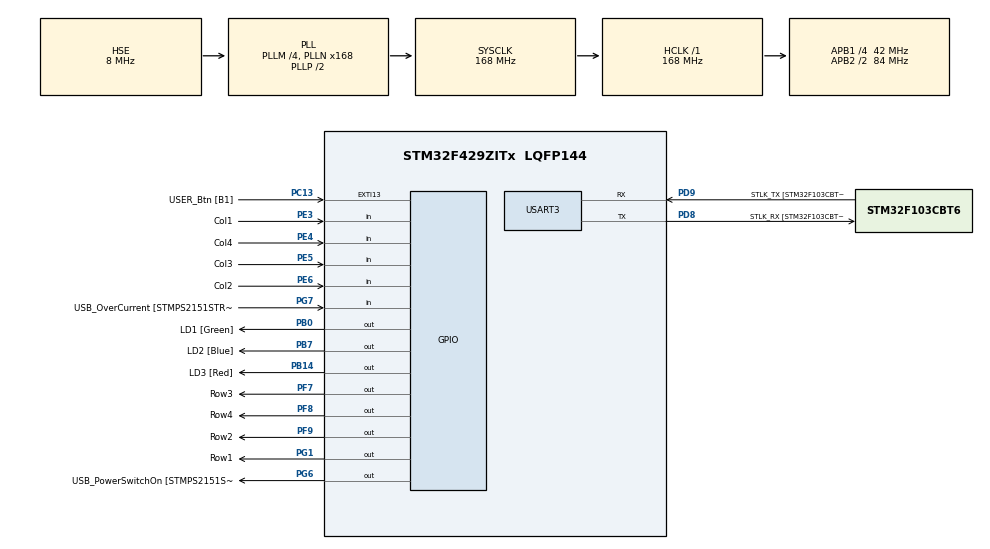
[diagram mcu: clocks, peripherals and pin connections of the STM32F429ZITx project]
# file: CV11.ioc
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Mcu.Family=STM32F4
Mcu.Name=STM32F429ZITx
Mcu.Package=LQFP144
NVIC.PriorityGroup=NVIC_PRIORITYGROUP_4
NVIC.TIM3_IRQn=true\:0\:0\:false\:false\:true\:true\:true\:true
PA1.GPIO_Label=RMII_REF_CLK [LAN8742A-CZ-TR_REFCLK0]
PA1.Signal=ETH_REF_CLK
PA10.GPIO_Label=USB_ID
PA10.Signal=USB_OTG_FS_ID
PA11.GPIO_Label=USB_DM
PA11.Signal=USB_OTG_FS_DM
PA12.GPIO_Label=USB_DP
PA12.Signal=USB_OTG_FS_DP
PA13.GPIO_Label=TMS
PA13.Mode=Serial_Wire
PA13.Signal=SYS_JTMS-SWDIO
PA14.GPIO_Label=TCK
PA14.Mode=Serial_Wire
PA14.Signal=SYS_JTCK-SWCLK
PA2.GPIO_Label=RMII_MDIO [LAN8742A-CZ-TR_MDIO]
PA2.Signal=ETH_MDIO
PA7.GPIO_Label=RMII_CRS_DV [LAN8742A-CZ-TR_CRS_DV]
PA7.Signal=ETH_CRS_DV
PA8.GPIO_Label=USB_SOF [TP1]
PA8.Signal=USB_OTG_FS_SOF
PA9.GPIO_Label=USB_VBUS
PA9.Signal=USB_OTG_FS_VBUS
PB0.GPIO_Label=LD1 [Green]
PB0.Signal=GPIO_Output
PB13.GPIO_Label=RMII_TXD1 [LAN8742A-CZ-TR_TXD1]
PB13.Signal=ETH_TXD1
PB14.GPIO_Label=LD3 [Red]
PB14.Signal=GPIO_Output
PB7.GPIO_Label=LD2 [Blue]
PB7.Signal=GPIO_Output
PC1.GPIO_Label=RMII_MDC [LAN8742A-CZ-TR_MDC]
PC1.Signal=ETH_MDC
PC13.GPIO_Label=USER_Btn [B1]
PC13.Signal=GPXTI13
PC14/OSC32_IN.Mode=LSE-External-Oscillator
PC14/OSC32_IN.Signal=RCC_OSC32_IN
PC15/OSC32_OUT.Mode=LSE-External-Oscillator
PC15/OSC32_OUT.Signal=RCC_OSC32_OUT
PC4.GPIO_Label=RMII_RXD0 [LAN8742A-CZ-TR_RXD0]
PC4.Signal=ETH_RXD0
PC5.GPIO_Label=RMII_RXD1 [LAN8742A-CZ-TR_RXD1]
PC5.Signal=ETH_RXD1
PD8.GPIO_Label=STLK_RX [STM32F103CBT6_PA3]
PD8.Mode=Asynchronous
PD8.Signal=USART3_TX
PD9.GPIO_Label=STLK_TX [STM32F103CBT6_PA2]
PD9.Mode=Asynchronous
PD9.Signal=USART3_RX
PE3.GPIO_Label=Col1
PE3.GPIO_PuPd=GPIO_PULLUP
PE3.Signal=GPIO_Input
PE4.GPIO_Label=Col4
PE4.GPIO_PuPd=GPIO_PULLUP
PE4.Signal=GPIO_Input
PE5.GPIO_Label=Col3
PE5.GPIO_PuPd=GPIO_PULLUP
PE5.Signal=GPIO_Input
PE6.GPIO_Label=Col2
PE6.GPIO_PuPd=GPIO_PULLUP
PE6.Signal=GPIO_Input
PF7.GPIO_Label=Row3
PF7.GPIO_ModeDefaultOutputPP=GPIO_MODE_OUTPUT_OD
PF7.GPIO_PuPd=GPIO_NOPULL
PF7.Signal=GPIO_Output
PF8.GPIO_Label=Row4
PF8.GPIO_ModeDefaultOutputPP=GPIO_MODE_OUTPUT_OD
PF8.GPIO_PuPd=GPIO_NOPULL
PF8.Signal=GPIO_Output
PF9.GPIO_Label=Row2
PF9.GPIO_ModeDefaultOutputPP=GPIO_MODE_OUTPUT_OD
PF9.GPIO_PuPd=GPIO_NOPULL
PF9.Signal=GPIO_Output
PG1.GPIO_Label=Row1
PG1.GPIO_ModeDefaultOutputPP=GPIO_MODE_OUTPUT_OD
PG1.GPIO_PuPd=GPIO_NOPULL
PG1.Signal=GPIO_Output
PG11.GPIO_Label=RMII_TX_EN [LAN8742A-CZ-TR_TXEN]
PG11.Signal=ETH_TX_EN
PG13.GPIO_Label=RMII_TXD0 [LAN8742A-CZ-TR_TXD0]
PG13.Signal=ETH_TXD0
PG6.GPIO_Label=USB_PowerSwitchOn [STMPS2151STR_EN]
PG6.Signal=GPIO_Output
PG7.GPIO_Label=USB_OverCurrent [STMPS2151STR_FAULT]
PG7.Signal=GPIO_Input
PH0/OSC_IN.GPIO_Label=MCO [STM32F103CBT6_PA8]
PH0/OSC_IN.Mode=HSE-External-Clock-Source
PH0/OSC_IN.Signal=RCC_OSC_IN
PH1/OSC_OUT.Mode=HSE-External-Clock-Source
PH1/OSC_OUT.Signal=RCC_OSC_OUT
ProjectManager.HeapSize=0x200
ProjectManager.StackSize=0x400
ProjectManager.TargetToolchain=STM32CubeIDE
RCC.48MHZClocksFreq_Value=48000000
RCC.AHBFreq_Value=168000000
RCC.APB1CLKDivider=RCC_HCLK_DIV4
RCC.APB1Freq_Value=42000000
RCC.APB1TimFreq_Value=84000000
RCC.APB2CLKDivider=RCC_HCLK_DIV2
RCC.APB2Freq_Value=84000000
RCC.APB2TimCLKDivider=2
RCC.APB2TimFreq_Value=168000000
RCC.CortexFreq_Value=168000000
RCC.HCLKFreq_Value=168000000
RCC.HSE_VALUE=8000000
RCC.HSI_VALUE=16000000
RCC.PLLM=4
RCC.PLLMUL=RCC_PLL_MUL9
RCC.PLLN=168
RCC.PLLQ=7
RCC.PLLSourceVirtual=RCC_PLLSOURCE_HSE
RCC.PRESCALERUSB=RCC_USBCLKSOURCE_PLL_DIV1_5
RCC.SYSCLKFreq_VALUE=168000000
RCC.SYSCLKSource=RCC_SYSCLKSOURCE_PLLCLK
RCC.SYSCLKSourceVirtual=RCC_SYSCLKSOURCE_PLLCLK
RCC.USBFreq_Value=48000000
RCC.VCOOutputFreq_Value=336000000
TIM3.AutoReloadPreload=TIM_AUTORELOAD_PRELOAD_ENABLE
TIM3.Period=99
TIM3.Prescaler=8399
USART3.VirtualMode=VM_ASYNC
VP_TIM3_VS_ClockSourceINT.Mode=Internal
board=NUCLEO-F429ZI

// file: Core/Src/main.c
/* USER CODE BEGIN Header */
/**
  ******************************************************************************
  * @file           : main.c
  * @brief          : Main program body
  ******************************************************************************
  * @attention
  *
  * Copyright (c) 2023 STMicroelectronics.
  * All rights reserved.
  *
  * This software is licensed under terms that can be found in the LICENSE file
  * in the root directory of this software component.
  * If no LICENSE file comes with this software, it is provided AS-IS.
  *
  ******************************************************************************
  */
/* USER CODE END Header */
#include "main.h"

/* USER CODE BEGIN Includes */
#include <stdio.h>

/* USER CODE END Includes */

TIM_HandleTypeDef htim3;

UART_HandleTypeDef huart3;

/* USER CODE BEGIN PV */

//7, 9, 3, 2, 12
static const uint8_t PozadovanyKod[] = {7, 9, 3, 2, 12};
static uint8_t VychodziaPozicia = 0;
static uint32_t CasPosledKlavesy = 0;
static volatile int key;

/* USER CODE END PV */

void SystemClock_Config(void);
static void MX_GPIO_Init(void);
static void MX_USART3_UART_Init(void);
static void MX_TIM3_Init(void);

/* USER CODE BEGIN 0 */

int __io_putchar(int ch)
{
ITM_SendChar(ch);
return 0;
}

/* USER CODE END 0 */

int main(void)
{

  /* MCU Configuration--------------------------------------------------------*/

  /* Reset of all peripherals, Initializes the Flash interface and the Systick. */
  HAL_Init();

  /* Configure the system clock */
  SystemClock_Config();

  /* Initialize all configured peripherals */
  MX_GPIO_Init();
  MX_USART3_UART_Init();
  MX_TIM3_Init();
  /* USER CODE BEGIN 2 */

  HAL_TIM_Base_Start_IT(&htim3);

  HAL_GPIO_TogglePin(LD2_GPIO_Port, LD2_Pin); // svieti LED bezi kod

  /* USER CODE END 2 */

  /* Infinite loop */
  /* USER CODE BEGIN WHILE */

 while (1)
  {

	// TEST LED BLINK - FUNGUJE JUPI
	// HAL_GPIO_TogglePin(LD2_GPIO_Port, LD2_Pin); // svieti LED bezi kod
	// HAL_Delay(250);

	// printf("Test\n");

	// if (key != -1) {
	//	 printf("Stisknuta klavesa %d \n", key);
	//	 key = -1;
	// }

	 if (key != -1) {

			HAL_Delay(250); // delay na stlacenie klavesy
			printf("Stisknuta klavesa %d" "\n", key);

			if (HAL_GetTick() - CasPosledKlavesy < 3000) { // 3 sekundovy timeout
				if (key == PozadovanyKod[VychodziaPozicia]) {
					// Spravne zadana klavesa (cislo)
					VychodziaPozicia++;

					if (VychodziaPozicia == sizeof(PozadovanyKod) / sizeof(PozadovanyKod[0])) {
						// Kód bol uspesne zadany
						HAL_GPIO_TogglePin(LD1_GPIO_Port, LD1_Pin);
						printf("Zadal si spravny kod !!! \n");

						VychodziaPozicia = 0; // Reset pozicie pre dalsie zadanie
					}
				} else {
					VychodziaPozicia = 0; // Nespravne zadana klavesa (cislo), reset pozicie
				}
			} else {
				// Timeout
				VychodziaPozicia = 0;
			}

			CasPosledKlavesy = HAL_GetTick();
			key = -1; // Reset key pre detekciu dalsieho zadavania
		}

    /* USER CODE END WHILE */

  }
}

void SystemClock_Config(void)
{
  RCC_OscInitTypeDef RCC_OscInitStruct = {0};
  RCC_ClkInitTypeDef RCC_ClkInitStruct = {0};

  /** Configure the main internal regulator output voltage
  */
  __HAL_RCC_PWR_CLK_ENABLE();
  __HAL_PWR_VOLTAGESCALING_CONFIG(PWR_REGULATOR_VOLTAGE_SCALE1);

  /** Initializes the RCC Oscillators according to the specified parameters
  * in the RCC_OscInitTypeDef structure.
  */
  RCC_OscInitStruct.OscillatorType = RCC_OSCILLATORTYPE_HSE;
  RCC_OscInitStruct.HSEState = RCC_HSE_BYPASS;
  RCC_OscInitStruct.PLL.PLLState = RCC_PLL_ON;
  RCC_OscInitStruct.PLL.PLLSource = RCC_PLLSOURCE_HSE;
  RCC_OscInitStruct.PLL.PLLM = 4;
  RCC_OscInitStruct.PLL.PLLN = 168;
  RCC_OscInitStruct.PLL.PLLP = RCC_PLLP_DIV2;
  RCC_OscInitStruct.PLL.PLLQ = 7;
  if (HAL_RCC_OscConfig(&RCC_OscInitStruct) != HAL_OK)
  {
    Error_Handler();
  }

  /** Initializes the CPU, AHB and APB buses clocks
  */
  RCC_ClkInitStruct.ClockType = RCC_CLOCKTYPE_HCLK|RCC_CLOCKTYPE_SYSCLK
                              |RCC_CLOCKTYPE_PCLK1|RCC_CLOCKTYPE_PCLK2;
  RCC_ClkInitStruct.SYSCLKSource = RCC_SYSCLKSOURCE_PLLCLK;
  RCC_ClkInitStruct.AHBCLKDivider = RCC_SYSCLK_DIV1;
  RCC_ClkInitStruct.APB1CLKDivider = RCC_HCLK_DIV4;
  RCC_ClkInitStruct.APB2CLKDivider = RCC_HCLK_DIV2;

  if (HAL_RCC_ClockConfig(&RCC_ClkInitStruct, FLASH_LATENCY_5) != HAL_OK)
  {
    Error_Handler();
  }
}

static void MX_TIM3_Init(void)
{

  TIM_ClockConfigTypeDef sClockSourceConfig = {0};
  TIM_MasterConfigTypeDef sMasterConfig = {0};

  htim3.Instance = TIM3;
  htim3.Init.Prescaler = 8399;
  htim3.Init.CounterMode = TIM_COUNTERMODE_UP;
  htim3.Init.Period = 99;
  htim3.Init.ClockDivision = TIM_CLOCKDIVISION_DIV1;
  htim3.Init.AutoReloadPreload = TIM_AUTORELOAD_PRELOAD_ENABLE;
  if (HAL_TIM_Base_Init(&htim3) != HAL_OK)
  {
    Error_Handler();
  }
  sClockSourceConfig.ClockSource = TIM_CLOCKSOURCE_INTERNAL;
  if (HAL_TIM_ConfigClockSource(&htim3, &sClockSourceConfig) != HAL_OK)
  {
    Error_Handler();
  }
  sMasterConfig.MasterOutputTrigger = TIM_TRGO_RESET;
  sMasterConfig.MasterSlaveMode = TIM_MASTERSLAVEMODE_DISABLE;
  if (HAL_TIMEx_MasterConfigSynchronization(&htim3, &sMasterConfig) != HAL_OK)
  {
    Error_Handler();
  }

}

static void MX_USART3_UART_Init(void)
{

  huart3.Instance = USART3;
  huart3.Init.BaudRate = 115200;
  huart3.Init.WordLength = UART_WORDLENGTH_8B;
  huart3.Init.StopBits = UART_STOPBITS_1;
  huart3.Init.Parity = UART_PARITY_NONE;
  huart3.Init.Mode = UART_MODE_TX_RX;
  huart3.Init.HwFlowCtl = UART_HWCONTROL_NONE;
  huart3.Init.OverSampling = UART_OVERSAMPLING_16;
  if (HAL_UART_Init(&huart3) != HAL_OK)
  {
    Error_Handler();
  }

}

static void MX_GPIO_Init(void)
{
  GPIO_InitTypeDef GPIO_InitStruct = {0};

  /* GPIO Ports Clock Enable */
  __HAL_RCC_GPIOE_CLK_ENABLE();
  __HAL_RCC_GPIOC_CLK_ENABLE();
  __HAL_RCC_GPIOF_CLK_ENABLE();
  __HAL_RCC_GPIOH_CLK_ENABLE();
  __HAL_RCC_GPIOA_CLK_ENABLE();
  __HAL_RCC_GPIOB_CLK_ENABLE();
  __HAL_RCC_GPIOG_CLK_ENABLE();
  __HAL_RCC_GPIOD_CLK_ENABLE();

  /*Configure GPIO pin Output Level */
  HAL_GPIO_WritePin(GPIOF, Row3_Pin|Row4_Pin|Row2_Pin, GPIO_PIN_RESET);

  /*Configure GPIO pin Output Level */
  HAL_GPIO_WritePin(GPIOB, LD1_Pin|LD3_Pin|LD2_Pin, GPIO_PIN_RESET);

  /*Configure GPIO pin Output Level */
  HAL_GPIO_WritePin(GPIOG, Row1_Pin|USB_PowerSwitchOn_Pin, GPIO_PIN_RESET);

  /*Configure GPIO pins : Col1_Pin Col4_Pin Col3_Pin Col2_Pin */
  GPIO_InitStruct.Pin = Col1_Pin|Col4_Pin|Col3_Pin|Col2_Pin;
  GPIO_InitStruct.Mode = GPIO_MODE_INPUT;
  GPIO_InitStruct.Pull = GPIO_PULLUP;
  HAL_GPIO_Init(GPIOE, &GPIO_InitStruct);

  /*Configure GPIO pin : USER_Btn_Pin */
  GPIO_InitStruct.Pin = USER_Btn_Pin;
  GPIO_InitStruct.Mode = GPIO_MODE_IT_RISING;
  GPIO_InitStruct.Pull = GPIO_NOPULL;
  HAL_GPIO_Init(USER_Btn_GPIO_Port, &GPIO_InitStruct);

  /*Configure GPIO pins : Row3_Pin Row4_Pin Row2_Pin */
  GPIO_InitStruct.Pin = Row3_Pin|Row4_Pin|Row2_Pin;
  GPIO_InitStruct.Mode = GPIO_MODE_OUTPUT_OD;
  GPIO_InitStruct.Pull = GPIO_NOPULL;
  GPIO_InitStruct.Speed = GPIO_SPEED_FREQ_LOW;
  HAL_GPIO_Init(GPIOF, &GPIO_InitStruct);

  /*Configure GPIO pins : RMII_MDC_Pin RMII_RXD0_Pin RMII_RXD1_Pin */
  GPIO_InitStruct.Pin = RMII_MDC_Pin|RMII_RXD0_Pin|RMII_RXD1_Pin;
  GPIO_InitStruct.Mode = GPIO_MODE_AF_PP;
  GPIO_InitStruct.Pull = GPIO_NOPULL;
  GPIO_InitStruct.Speed = GPIO_SPEED_FREQ_VERY_HIGH;
  GPIO_InitStruct.Alternate = GPIO_AF11_ETH;
  HAL_GPIO_Init(GPIOC, &GPIO_InitStruct);

  /*Configure GPIO pins : RMII_REF_CLK_Pin RMII_MDIO_Pin RMII_CRS_DV_Pin */
  GPIO_InitStruct.Pin = RMII_REF_CLK_Pin|RMII_MDIO_Pin|RMII_CRS_DV_Pin;
  GPIO_InitStruct.Mode = GPIO_MODE_AF_PP;
  GPIO_InitStruct.Pull = GPIO_NOPULL;
  GPIO_InitStruct.Speed = GPIO_SPEED_FREQ_VERY_HIGH;
  GPIO_InitStruct.Alternate = GPIO_AF11_ETH;
  HAL_GPIO_Init(GPIOA, &GPIO_InitStruct);

  /*Configure GPIO pins : LD1_Pin LD3_Pin LD2_Pin */
  GPIO_InitStruct.Pin = LD1_Pin|LD3_Pin|LD2_Pin;
  GPIO_InitStruct.Mode = GPIO_MODE_OUTPUT_PP;
  GPIO_InitStruct.Pull = GPIO_NOPULL;
  GPIO_InitStruct.Speed = GPIO_SPEED_FREQ_LOW;
  HAL_GPIO_Init(GPIOB, &GPIO_InitStruct);

  /*Configure GPIO pin : Row1_Pin */
  GPIO_InitStruct.Pin = Row1_Pin;
  GPIO_InitStruct.Mode = GPIO_MODE_OUTPUT_OD;
  GPIO_InitStruct.Pull = GPIO_NOPULL;
  GPIO_InitStruct.Speed = GPIO_SPEED_FREQ_LOW;
  HAL_GPIO_Init(Row1_GPIO_Port, &GPIO_InitStruct);

  /*Configure GPIO pin : RMII_TXD1_Pin */
  GPIO_InitStruct.Pin = RMII_TXD1_Pin;
  GPIO_InitStruct.Mode = GPIO_MODE_AF_PP;
  GPIO_InitStruct.Pull = GPIO_NOPULL;
  GPIO_InitStruct.Speed = GPIO_SPEED_FREQ_VERY_HIGH;
  GPIO_InitStruct.Alternate = GPIO_AF11_ETH;
  HAL_GPIO_Init(RMII_TXD1_GPIO_Port, &GPIO_InitStruct);

  /*Configure GPIO pin : USB_PowerSwitchOn_Pin */
  GPIO_InitStruct.Pin = USB_PowerSwitchOn_Pin;
  GPIO_InitStruct.Mode = GPIO_MODE_OUTPUT_PP;
  GPIO_InitStruct.Pull = GPIO_NOPULL;
  GPIO_InitStruct.Speed = GPIO_SPEED_FREQ_LOW;
  HAL_GPIO_Init(USB_PowerSwitchOn_GPIO_Port, &GPIO_InitStruct);

  /*Configure GPIO pin : USB_OverCurrent_Pin */
  GPIO_InitStruct.Pin = USB_OverCurrent_Pin;
  GPIO_InitStruct.Mode = GPIO_MODE_INPUT;
  GPIO_InitStruct.Pull = GPIO_NOPULL;
  HAL_GPIO_Init(USB_OverCurrent_GPIO_Port, &GPIO_InitStruct);

  /*Configure GPIO pins : USB_SOF_Pin USB_ID_Pin USB_DM_Pin USB_DP_Pin */
  GPIO_InitStruct.Pin = USB_SOF_Pin|USB_ID_Pin|USB_DM_Pin|USB_DP_Pin;
  GPIO_InitStruct.Mode = GPIO_MODE_AF_PP;
  GPIO_InitStruct.Pull = GPIO_NOPULL;
  GPIO_InitStruct.Speed = GPIO_SPEED_FREQ_VERY_HIGH;
  GPIO_InitStruct.Alternate = GPIO_AF10_OTG_FS;
  HAL_GPIO_Init(GPIOA, &GPIO_InitStruct);

  /*Configure GPIO pin : USB_VBUS_Pin */
  GPIO_InitStruct.Pin = USB_VBUS_Pin;
  GPIO_InitStruct.Mode = GPIO_MODE_INPUT;
  GPIO_InitStruct.Pull = GPIO_NOPULL;
  HAL_GPIO_Init(USB_VBUS_GPIO_Port, &GPIO_InitStruct);

  /*Configure GPIO pins : RMII_TX_EN_Pin RMII_TXD0_Pin */
  GPIO_InitStruct.Pin = RMII_TX_EN_Pin|RMII_TXD0_Pin;
  GPIO_InitStruct.Mode = GPIO_MODE_AF_PP;
  GPIO_InitStruct.Pull = GPIO_NOPULL;
  GPIO_InitStruct.Speed = GPIO_SPEED_FREQ_VERY_HIGH;
  GPIO_InitStruct.Alternate = GPIO_AF11_ETH;
  HAL_GPIO_Init(GPIOG, &GPIO_InitStruct);

}

/* USER CODE BEGIN 4 */

void HAL_TIM_PeriodElapsedCallback(TIM_HandleTypeDef *htim)
{
 static int row = 0;
 static const int keyboard[4][4] = {
 { 1, 2, 3, 21 },
 { 4, 5, 6, 22 },
 { 7, 8, 9, 23 },
 { 11, 0, 12, 24 },
 };

 if (key == -1) {
 if (HAL_GPIO_ReadPin(Col1_GPIO_Port, Col1_Pin) == GPIO_PIN_RESET) key = keyboard[row][0];
 if (HAL_GPIO_ReadPin(Col2_GPIO_Port, Col2_Pin) == GPIO_PIN_RESET) key = keyboard[row][1];
 if (HAL_GPIO_ReadPin(Col3_GPIO_Port, Col3_Pin) == GPIO_PIN_RESET) key = keyboard[row][2];
 if (HAL_GPIO_ReadPin(Col4_GPIO_Port, Col4_Pin) == GPIO_PIN_RESET) key = keyboard[row][3];
 }

 HAL_GPIO_WritePin(Row1_GPIO_Port, Row1_Pin, GPIO_PIN_SET);
 HAL_GPIO_WritePin(Row2_GPIO_Port, Row2_Pin, GPIO_PIN_SET);
 HAL_GPIO_WritePin(Row3_GPIO_Port, Row3_Pin, GPIO_PIN_SET);
 HAL_GPIO_WritePin(Row4_GPIO_Port, Row4_Pin, GPIO_PIN_SET);
 switch (row) {
 case 0: row = 1; HAL_GPIO_WritePin(Row2_GPIO_Port, Row2_Pin, GPIO_PIN_RESET); break;
 case 1: row = 2; HAL_GPIO_WritePin(Row3_GPIO_Port, Row3_Pin, GPIO_PIN_RESET); break;
 case 2: row = 3; HAL_GPIO_WritePin(Row4_GPIO_Port, Row4_Pin, GPIO_PIN_RESET); break;
 case 3: row = 0; HAL_GPIO_WritePin(Row1_GPIO_Port, Row1_Pin, GPIO_PIN_RESET); break;
 }
}

/* USER CODE END 4 */

void Error_Handler(void)
{
  __disable_irq();
  while (1)
  {
  }
}
